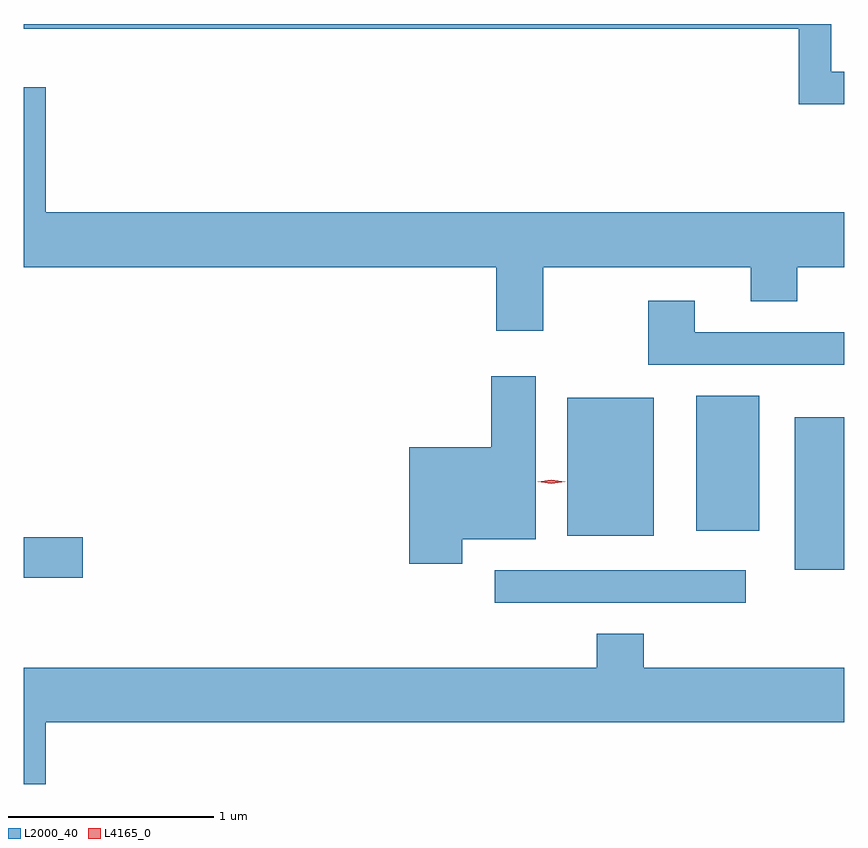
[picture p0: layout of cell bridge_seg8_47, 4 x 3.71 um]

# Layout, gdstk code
import gdstk
lib = gdstk.Library(unit=1e-6, precision=1e-09)
def R(c, l, rs):  # rectangles x0, y0, x1, y1
    for r in rs: c.add(gdstk.rectangle(r[:2], r[2:], *l))
def P(c, l, *ps):  # polygons
    for p in ps: c.add(gdstk.Polygon(p, *l))
L2000_40 = (2000, 40)
L4165_0 = (4165, 0)

bridge_seg8_47 = lib.new_cell('bridge_seg8_47')
R(bridge_seg8_47, L2000_40, [(1636.113,1921.361,1637.338,1921.519), (1633.817,1921.481,1634.104,1921.679), (1637.576,1921.521,1637.817,1922.264), (1636.466,1921.686,1636.889,1922.359), (1637.096,1921.711,1637.404,1922.369)])
P(bridge_seg8_47, L2000_40, [(1637.817,1923.949),(1637.754,1923.949),(1637.754,1924.183),(1633.817,1924.183),(1633.817,1924.161),(1637.596,1924.161),(1637.596,1923.791),(1637.817,1923.791)],
  [(1636.349,1922.996),(1637.361,1922.996),(1637.361,1922.831),(1637.589,1922.831),(1637.589,1922.996),(1637.817,1922.996),(1637.817,1923.264),(1633.924,1923.264),(1633.924,1923.874),(1633.817,1923.874),(1633.817,1922.996),(1636.121,1922.996),(1636.121,1922.686),(1636.349,1922.686)],
  [(1637.817,1922.679),(1637.089,1922.679),(1637.089,1922.834),(1636.861,1922.834),(1636.861,1922.521),(1637.817,1922.521)],
  [(1635.954,1921.671),(1636.314,1921.671),(1636.314,1922.464),(1636.096,1922.464),(1636.096,1922.119),(1635.696,1922.119),(1635.696,1921.551),(1635.954,1921.551)],
  [(1637.817,1921.044),(1636.839,1921.044),(1636.839,1921.209),(1636.611,1921.209),(1636.611,1921.044),(1633.817,1921.044),(1633.817,1920.476),(1633.924,1920.476),(1633.924,1920.776),(1637.817,1920.776)])
P(bridge_seg8_47, L4165_0, [(1636.39,1921.94),(1636.323,1921.95),(1636.323,1921.95),(1636.323,1921.951),(1636.39,1921.96),(1636.456,1921.951),(1636.456,1921.951),(1636.456,1921.95)])

lib.write_gds('bridge_seg8_47.gds')
